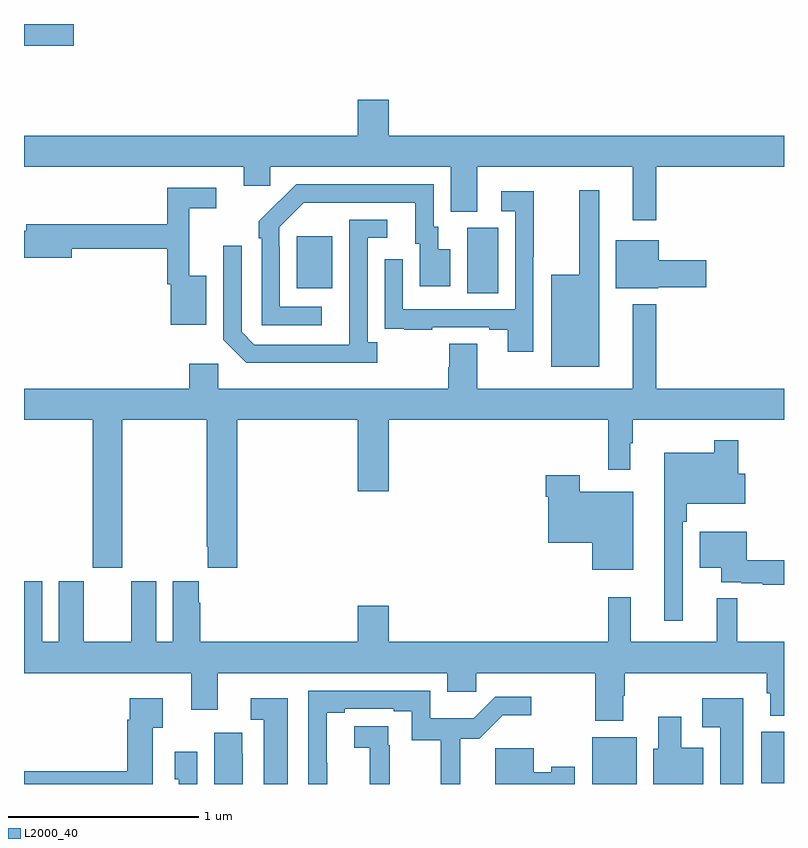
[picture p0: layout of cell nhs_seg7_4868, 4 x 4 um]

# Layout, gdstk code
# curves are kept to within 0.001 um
import gdstk
lib = gdstk.Library(unit=1e-6, precision=1e-09)
def R(c, l, rs):  # rectangles x0, y0, x1, y1
    for r in rs: c.add(gdstk.rectangle(r[:2], r[2:], *l))
def P(c, l, *ps):  # polygons
    for p in ps: c.add(gdstk.Polygon(p, *l))
L2000_40 = (2000, 40)

nhs_seg7_4868 = lib.new_cell('nhs_seg7_4868')
R(nhs_seg7_4868, L2000_40, [(417.992,1032,418.225,1032.247), (418.88,1032.005,419,1032.274), (417.332,1034.584,417.496,1034.928), (416.435,1034.609,416.623,1034.884), (415,1035.886,415.261,1036)])
P(nhs_seg7_4868, L2000_40, [(418.327,1035.248),(419,1035.248),(419,1035.412),(416.92,1035.412),(416.92,1035.601),(416.756,1035.601),(416.756,1035.412),(415,1035.412),(415,1035.248),(416.156,1035.248),(416.156,1035.15),(416.295,1035.15),(416.295,1035.248),(417.245,1035.248),(417.245,1035.013),(417.385,1035.013),(417.385,1035.248),(418.205,1035.248),(418.205,1034.967),(418.327,1034.967)],
  [(416.566,1034.511),(416.346,1034.511),(416.346,1034.831),(416.343,1034.831),(416.343,1034.931),(416.472,1035.06),(417.059,1035.06),(417.059,1034.844),(417.083,1034.844),(417.083,1034.619),(417.244,1034.619),(417.244,1034.815),(417.181,1034.815),(417.181,1034.934),(417.156,1034.934),(417.156,1035.156),(416.432,1035.156),(416.235,1034.961),(416.235,1034.873),(416.25,1034.873),(416.25,1034.415),(416.566,1034.415)],
  [(415.96,1034.674),(415.871,1034.674),(415.871,1035.03),(416.011,1035.03),(416.011,1035.138),(415.753,1035.138),(415.753,1034.947),(415.013,1034.947),(415.013,1034.913),(415,1034.913),(415,1034.771),(415.252,1034.771),(415.252,1034.818),(415.753,1034.818),(415.753,1034.631),(415.772,1034.631),(415.772,1034.417),(415.96,1034.417)],
  [(418.027,1035.124),(417.923,1035.124),(417.923,1034.68),(417.776,1034.68),(417.776,1034.195),(418.027,1034.195)],
  [(417.681,1034.776),(417.684,1034.776),(417.684,1035.121),(417.513,1035.121),(417.513,1035.015),(417.585,1035.015),(417.585,1034.499),(416.994,1034.499),(416.994,1034.761),(416.898,1034.761),(416.898,1034.506),(416.899,1034.506),(416.899,1034.397),(417.001,1034.397),(417.001,1034.391),(417.149,1034.391),(417.149,1034.403),(417.449,1034.403),(417.449,1034.391),(417.545,1034.391),(417.545,1034.274),(417.681,1034.274)],
  [(416.86,1034.326),(416.808,1034.326),(416.808,1034.874),(416.911,1034.874),(416.911,1034.97),(416.712,1034.97),(416.711,1034.313),(416.211,1034.313),(416.145,1034.379),(416.145,1034.833),(416.049,1034.833),(416.049,1034.337),(416.17,1034.216),(416.86,1034.216)],
  [(418.338,1034.615),(418.591,1034.615),(418.591,1034.757),(418.342,1034.757),(418.342,1034.863),(418.115,1034.863),(418.115,1034.609),(418.338,1034.609)],
  [(415.518,1033.916),(415.963,1033.916),(415.963,1033.249),(415.967,1033.249),(415.967,1033.137),(416.123,1033.137),(416.123,1033.916),(416.756,1033.916),(416.756,1033.542),(416.92,1033.542),(416.92,1033.916),(418.075,1033.916),(418.075,1033.653),(418.192,1033.653),(418.192,1033.793),(418.204,1033.793),(418.204,1033.916),(419,1033.916),(419,1034.08),(418.327,1034.08),(418.327,1034.524),(418.205,1034.524),(418.205,1034.08),(417.385,1034.08),(417.385,1034.318),(417.238,1034.318),(417.238,1034.193),(417.233,1034.193),(417.233,1034.08),(416.022,1034.08),(416.022,1034.212),(415.871,1034.212),(415.871,1034.08),(415,1034.08),(415,1033.916),(415.363,1033.916),(415.363,1033.137),(415.518,1033.137)],
  [(418.467,1033.379),(418.487,1033.379),(418.487,1033.475),(418.795,1033.475),(418.795,1033.633),(418.76,1033.633),(418.76,1033.81),(418.632,1033.81),(418.632,1033.744),(418.37,1033.744),(418.37,1032.858),(418.467,1032.858)],
  [(418.207,1033.537),(417.924,1033.537),(417.924,1033.624),(417.746,1033.624),(417.746,1033.511),(417.758,1033.511),(417.758,1033.271),(417.992,1033.271),(417.992,1033.127),(418.207,1033.127)],
  [(419,1033.178),(418.805,1033.178),(418.805,1033.327),(418.556,1033.327),(418.556,1033.139),(418.67,1033.139),(418.67,1033.062),(418.774,1033.062),(418.774,1033.056),(418.888,1033.056),(418.888,1033.05),(419,1033.05)],
  [(415.784,1033.066),(415.784,1032.748),(415.696,1032.748),(415.696,1033.066),(415.565,1033.066),(415.565,1032.748),(415.315,1032.748),(415.315,1033.066),(415.184,1033.066),(415.184,1032.748),(415.096,1032.748),(415.096,1033.066),(415,1033.066),(415,1032.584),(415.88,1032.584),(415.88,1032.39),(416.02,1032.39),(416.02,1032.584),(417.227,1032.584),(417.227,1032.486),(417.379,1032.486),(417.379,1032.584),(418.006,1032.584),(418.006,1032.332),(418.153,1032.332),(418.153,1032.464),(418.161,1032.464),(418.161,1032.584),(418.909,1032.584),(418.909,1032.477),(418.928,1032.477),(418.928,1032.359),(419,1032.359),(419,1032.748),(418.754,1032.748),(418.754,1032.977),(418.646,1032.977),(418.646,1032.748),(418.193,1032.748),(418.193,1032.982),(418.075,1032.982),(418.075,1032.748),(416.92,1032.748),(416.92,1032.937),(416.756,1032.937),(416.756,1032.748),(415.928,1032.748),(415.928,1032.953),(415.921,1032.953),(415.921,1033.066)],
  [(416.595,1032.113),(416.593,1032.113),(416.593,1032.376),(416.689,1032.376),(416.689,1032.396),(416.945,1032.396),(416.945,1032.382),(417.042,1032.382),(417.042,1032.229),(417.193,1032.229),(417.193,1032),(417.296,1032),(417.296,1032.237),(417.395,1032.237),(417.521,1032.362),(417.67,1032.362),(417.67,1032.459),(417.48,1032.459),(417.367,1032.346),(417.138,1032.346),(417.138,1032.492),(416.496,1032.492),(416.496,1032),(416.595,1032)],
  [(418.786,1032.451),(418.569,1032.451),(418.569,1032.299),(418.664,1032.299),(418.664,1032),(418.786,1032)],
  [(415.678,1032.295),(415.729,1032.295),(415.729,1032.451),(415.556,1032.451),(415.556,1032.338),(415.544,1032.338),(415.544,1032.068),(415,1032.068),(415,1032),(415.678,1032)],
  [(416.389,1032.451),(416.193,1032.451),(416.193,1032.339),(416.261,1032.339),(416.261,1032),(416.389,1032)],
  [(418.576,1032.19),(418.459,1032.19),(418.459,1032.355),(418.337,1032.355),(418.337,1032.186),(418.313,1032.186),(418.313,1032),(418.576,1032)],
  [(416.924,1032.203),(416.918,1032.203),(416.918,1032.305),(416.739,1032.305),(416.739,1032.19),(416.821,1032.19),(416.821,1032),(416.924,1032)],
  [(416.152,1032.158),(416.149,1032.158),(416.149,1032.271),(416,1032.271),(416,1032),(416.152,1032)],
  [(417.898,1032.092),(417.776,1032.092),(417.776,1032.061),(417.682,1032.061),(417.682,1032.189),(417.479,1032.189),(417.479,1032),(417.898,1032)],
  [(415.911,1032.169),(415.794,1032.169),(415.794,1032.024),(415.815,1032.024),(415.815,1032),(415.911,1032)])

lib.write_gds('nhs_seg7_4868.gds')
